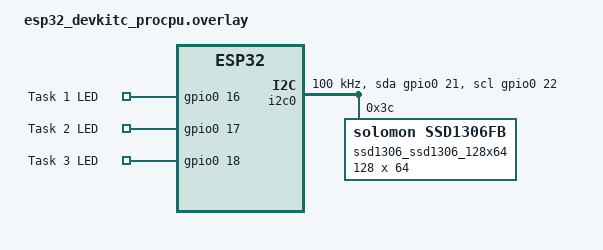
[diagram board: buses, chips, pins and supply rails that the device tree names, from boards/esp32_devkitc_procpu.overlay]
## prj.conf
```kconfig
CONFIG_GPIO=y
CONFIG_BOOTLOADER_MCUBOOT=y

CONFIG_I2C=y
CONFIG_DISPLAY=y
CONFIG_CHARACTER_FRAMEBUFFER=y
CONFIG_CBPRINTF_FP_SUPPORT=y

# Activate logging to get error/warnings for SSD1306 initialization
CONFIG_LOG=y
CONFIG_LOG_DEFAULT_LEVEL=3

# Task Configuration
CONFIG_NUM_TASKS=3

CONFIG_TASK1_PRIORITY=1
CONFIG_TASK1_PERIOD_MS=4000
CONFIG_TASK1_EXECUTION_TIME_MS=2000
CONFIG_TASK1_RELEASE_MS=0

CONFIG_TASK2_PRIORITY=2
CONFIG_TASK2_PERIOD_MS=7000
CONFIG_TASK2_EXECUTION_TIME_MS=2000
CONFIG_TASK2_RELEASE_MS=0

CONFIG_TASK3_PRIORITY=3
CONFIG_TASK3_PERIOD_MS=8000
CONFIG_TASK3_EXECUTION_TIME_MS=1000
CONFIG_TASK3_RELEASE_MS=0
```

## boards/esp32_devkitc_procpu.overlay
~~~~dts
/ {
    custom_gpio {
        compatible = "gpio-keys";

        task1_led: task1_led {
            gpios = <&gpio0 16 GPIO_ACTIVE_HIGH>;
            label = "Task 1 LED";
        };
        task2_led: task2_led {
            gpios = <&gpio0 17 GPIO_ACTIVE_HIGH>;
            label = "Task 2 LED";
        };
        task3_led: task3_led {
            gpios = <&gpio0 18 GPIO_ACTIVE_HIGH>;
            label = "Task 3 LED";
        };
    };

    chosen {
        task1_led = &task1_led;
        task2_led = &task2_led;
        task3_led = &task3_led;
        display = &ssd1306_ssd1306_128x64;
    };
};

&i2c0 {
    status = "okay";
    clock-frequency = <I2C_BITRATE_STANDARD>;
    sda-gpios = <&gpio0 21 GPIO_OPEN_DRAIN>;
    scl-gpios = <&gpio0 22 GPIO_OPEN_DRAIN>;
    pinctrl-0 = <&i2c0_default>;
    pinctrl-names = "default";

    ssd1306_ssd1306_128x64: ssd1306@3c {
        compatible = "solomon,ssd1306fb";
        reg = <0x3c>;
        width = <128>;
        height = <64>;
        segment-offset = <0>;
        page-offset = <0>;
        display-offset = <0>;
        segment-remap;
        com-invdir;
        multiplex-ratio = <63>;
        prechargep = <0x22>;
    };
};


/* TODO: Configure I2C for the SSD1306 display. 
*  For reference, you may want to have a look at
*  (1) zephyr/boards/espressif/esp32_devkitc/esp32_devkitc_procpu.dts
*  (2) zephyr/boards/shields/ssd1306/ssd1306_128x64.overlay
*  Hint: The ESP32 device tree does not provide a arduino_i2c definition as 
*  assumed by (2), thus replace it with a suitable device tree entry from (1).
*
*  Afterwards, make sure that the reference in display.c is correctly resolved
*  ```
*  #define SSD1306 DT_CHOSEN(display)
*  static const struct device *dev = DEVICE_DT_GET(SSD1306);
*  ```
*/
~~~~

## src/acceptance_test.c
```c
/*
	Team Members
	************
	Ganesh Patil :- 3823129
	Farhan Balekundri :- 3823048
	Varadraj Dundappa Yalamalli :- 3822751
	Esther Ürek :- 3531932
*/

#include <math.h>
#include <stdio.h>

#include "acceptance_test.h"

void utilization_bound_test(struct task_params **params, unsigned int task_id,
			    AcceptanceTestResult results[])
{
	double utilization = 0;
	bool accepted = false;

	/*--------------------------------------------------------------------
	 * TODO 1: Implement the Utilization Bound Test from the lecture
	 ---------------------------------------------------------------------*/
	int not_scheduled_tasks = 0;
	for (unsigned int i = 0; i <= task_id; i++) {
		if (i == task_id || results[i].accepted == true) {
			utilization +=
				(double)params[i]->execution_time_ms / (double)params[i]->period_ms;
		} else {
			not_scheduled_tasks++;
		}
	}

	double n =
		task_id + 1 - not_scheduled_tasks; // number of tasks involved (Doubt: if there is a
						   // failed task should we consider it in n?)
	double U_bound = n * (pow(2.0, 1.0 / n) - 1);

	accepted = utilization <= U_bound;

	results[task_id].accepted = accepted;
	results[task_id].info.util = utilization;

	printf("Utiliization Test (Task %d): %f (%s)\n", task_id + 1, utilization,
	       accepted ? "accepted" : "rejected");
}

void worst_case_simulation(struct task_params **params, unsigned int task_id,
			   AcceptanceTestResult results[])
{
	int32_t completion_time = 0;
	bool accepted = false;

	/*--------------------------------------------------------------------
	 * TODO 2: Implement the Worst Case Simulation from the lecture
	 ---------------------------------------------------------------------*/

	completion_time = params[task_id]->execution_time_ms;
	int32_t task_period_ms = params[task_id]->period_ms;

	for (unsigned int i = 0; i < task_id; ++i) {
		if (i == task_id || results[i].accepted == true) {
			completion_time += ceil((double)task_period_ms / params[i]->period_ms) *
					   params[i]->execution_time_ms;
		}
	}
	accepted = (completion_time <= params[task_id]->period_ms);

	// ___________________________ END _____________________________________
	results[task_id].accepted = accepted;
	results[task_id].info.wcs_result = completion_time;

	printf("Worst Case Simulation (Task %d): %d ms (%s)\n", task_id + 1, completion_time,
	       accepted ? "accepted" : "rejected");
}

void time_demand_analysis(struct task_params **params, unsigned int task_id,
			  AcceptanceTestResult results[])
{
	int32_t t_next = 0;
	bool accepted = false;

	/*--------------------------------------------------------------------
	 * TODO 3: Implement the Time Demand Analysis from the lecture
	 ---------------------------------------------------------------------*/
	int32_t t_prev = 0;
	t_next = params[task_id]->execution_time_ms;

	while (t_next != t_prev && t_next <= params[task_id]->period_ms) {
		t_prev = t_next;
		t_next = params[task_id]->execution_time_ms;

		for (unsigned int i = 0; i < task_id; i++) {
			if(i == task_id ||  results[i].accepted == true){
				t_next += ceil((double)t_prev / params[i]->period_ms) *
					params[i]->execution_time_ms;
			}
		}
	}

	accepted = (t_next <= params[task_id]->period_ms);

	results[task_id].accepted = accepted;
	results[task_id].info.tda_result = t_next;

	printf("Time Demand Analysis (Task %d): %d ms (%s)\n", task_id + 1, t_next,
	       accepted ? "accepted" : "rejected");
}

/* Determine if params[task_id] can be scheduled.
 * - params: array of all task parameters (e.g., needed to perform TDA)
 * - task_id: index such that params[task_id] is the task under consideration
 * - results: output parameter yielding the acceptance test result */
void acceptance_test(struct task_params **params, unsigned int task_id,
		     AcceptanceTestResult results[])
{
	/*--------------------------------------------------------------------
	 * TODO 4: Call the above acceptance tests in a suitable order.
	 *  In particular, recall which of these tests are necessary,
	 *  sufficient, or both.
	 *  Ensure that the final value of result->accepted is true if and
	 *  only if the task encoded by params[task_id] can be scheduled.
	 ---------------------------------------------------------------------*/

	// 1. UBT → fast check (sufficient)
	utilization_bound_test(params, task_id, results);
	if (!results[task_id].accepted && results[task_id].info.util > 1) {
		printf("==> Task %d CANNOT be scheduled\n", params[task_id]->task_id);
		return;
	} else if (results[task_id].accepted) {
		printf("==> Task %d is SCHEDULABLE\n", params[task_id]->task_id);
		return;
	}

	// 2. WCS → optional check
	worst_case_simulation(params, task_id, results);
	// if accepted here, we still need to perform TDA,
	// as WCS does not guarantee schedulability

	// 3. TDA → must pass (necessary & sufficient)
	time_demand_analysis(params, task_id, results);

	if (results[task_id].accepted) {
		printf("==> Task %d is SCHEDULABLE\n", params[task_id]->task_id);
	} else {
		printf("==> Task %d CANNOT be scheduled\n", params[task_id]->task_id);
	}
}
```
